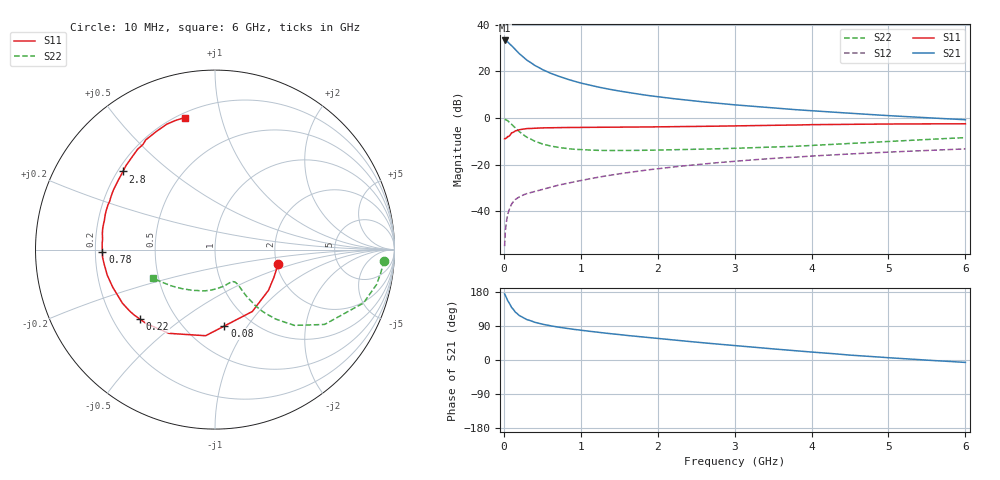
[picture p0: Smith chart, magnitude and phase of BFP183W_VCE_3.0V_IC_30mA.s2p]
! Infineon Technologies  Discrete & RF Semiconductors
! BFP183W
! VCE = 3.0 V,  IC =  30 mA
! Common Emitter S-Parameters:  Jan 2016
# GHz  S  MA  R  50
!  f  S11  S21  S12  S22
! GHz  MAG  ANG  MAG  ANG  MAG  ANG  MAG  ANG
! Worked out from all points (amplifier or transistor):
!   210 points, 10 MHz to 6 GHz, reference 50 ohm
!   highest |S21| = 33.3 dB at 10 MHz (marker M1)
!   |S21| within 3 dB of that: start of sweep to 123.5 MHz
!   unconditionally stable (mu >= 1): 723.5 MHz to 4.916 GHz
!   at 185 MHz: K = 0.45, MSG = 31.1 dB, |S12| = -34.1 dB
!   at 1.52 GHz: K = 1.17, MAG = 15.1 dB, |S12| = -23.8 dB
!   at 6 GHz: K = 0.97, MSG = 6.3 dB, |S12| = -13.2 dB
!   S11 on the Smith chart (normalised r, x): 10 MHz: 2.04, -0.38; 80 MHz: 0.76, -0.79; 220 MHz: 0.31, -0.36; 780 MHz: 0.23, -0.01; 2.8 GHz: 0.22, +0.35; 6 GHz: 0.23, +0.77
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0.01  0.361 -12.9  46.08 174.3  0.0018 85.1  0.9437 -3.8
0.03  0.3745 -37.3  45.21 165.7  0.0054 81.0  0.9209 -12.2
0.05  0.4027 -58.9  42.92 156.7  0.0087 71.9  0.8793 -19.8
0.08  0.429 -83.0  38.28 146.8  0.0121 63.8  0.7891 -27.9
0.1  0.4827 -96.2  35.94 139.0  0.0144 60.5  0.7395 -34.3
0.15  0.5325 -118.8  29.3 126.1  0.0181 52.2  0.6111 -43.7
0.2  0.563 -133.0  24.11 117.5  0.0204 49.4  0.513 -48.9
0.22  0.5696 -137.0  22.58 115.3  0.0212 48.8  0.4842 -50.1
0.26  0.5859 -144.2  19.77 110.6  0.0228 48.1  0.431 -52.6
0.3  0.596 -150.0  17.42 106.6  0.0241 47.9  0.3886 -54.1
0.4  0.6072 -159.9  13.52 99.6  0.0266 48.7  0.3208 -55.9
0.5  0.6171 -166.7  11.01 94.4  0.0297 50.8  0.2789 -56.4
0.6  0.6217 -171.5  9.245 90.4  0.0328 52.9  0.2534 -56.5
0.78  0.6277 -178.8  7.214 84.6  0.0385 55.8  0.2267 -57.2
1.02  0.6298 174.3  5.537 78.1  0.0465 58.2  0.21 -58.9
1.4  0.637 165.4  4.066 69.2  0.0602 59.8  0.2023 -63.5
2.02  0.65 153.2  2.842 56.4  0.083 59.4  0.2066 -74.1
2.8  0.6732 139.7  2.06 41.6  0.1115 55.8  0.2203 -90.2
3.1  0.6849 135.1  1.866 36.4  0.1224 54.1  0.2278 -97.1
4.1  0.7246 121.1  1.405 19.5  0.1569 47.7  0.264 -121.5
5.1  0.7488 110.3  1.105 4.8  0.1897 41.0  0.3232 -142.4
6  0.7547 103.0  0.923 -6.4  0.2185 35.2  0.3809 -155.5
